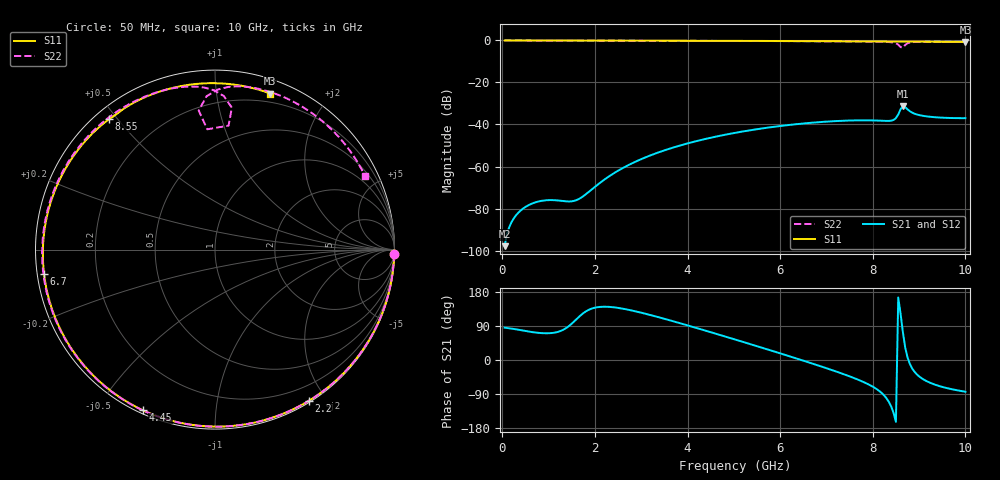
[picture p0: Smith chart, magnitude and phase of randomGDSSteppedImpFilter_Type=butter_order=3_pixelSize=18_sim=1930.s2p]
! freq	dB(S11)	phase(S11)	dB(S12)	phase(S12)
!  dB(S21)	phase(S21)	dB(S22)	phase(S22)
!S-par simulation data
#  GHz  S  DB  R 50
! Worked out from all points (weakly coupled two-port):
!   200 points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, 50 MHz to 10 GHz, reference 50 ohm
!   highest |S21| = -31.29 dB at 8.65 GHz (marker M1); lowest = -97.9 dB at 50 MHz (marker M2)
!   lowest |S11| = -0.7 dB at 10 GHz (marker M3), VSWR 24.82, Z = 6.03 + j70.4 ohm
!   |S11| at or under -10 dB: nowhere
!   |S22| runs from -3.5 to 0.0 dB; largest |S21 - S12| = 0
!   S11 on the Smith chart (normalised r, x): 50 MHz: 5, -88; 2.2 GHz: 0.02, -1.80; 4.45 GHz: 0.01, -0.65; 6.7 GHz: 0.02, -0.07; 8.55 GHz: 0.04, +0.48; 10 GHz: 0.12, +1.41
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0.05  -0.01 -1.3  -97.91 85.3  -97.91 85.3  -0.01 -1.4
0.45  -0.02 -12.1  -80.00 77.5  -80.00 77.5  -0.02 -13.3
0.85  -0.03 -22.8  -76.33 70.9  -76.33 70.9  -0.03 -25.1
1.5  -0.05 -40.0  -76.56 95.9  -76.56 95.9  -0.06 -44.0
1.75  -0.06 -46.5  -74.10 123.6  -74.10 123.6  -0.06 -51.2
2.2  -0.07 -58.1  -66.29 140.6  -66.29 140.6  -0.08 -64.0
2.75  -0.09 -72.1  -59.04 131.9  -59.04 131.9  -0.10 -79.4
3.4  -0.12 -88.3  -53.07 112.1  -53.07 112.1  -0.13 -97.3
4.45  -0.17 -114.1  -46.56 75.2  -46.56 75.2  -0.18 -126.3
5.05  -0.20 -128.9  -43.88 53.2  -43.88 53.2  -0.22 -143.2
5.9  -0.26 -150.4  -41.00 21.4  -41.00 21.4  -0.29 -168.5
6.7  -0.33 -171.9  -39.13 -9.6  -39.13 -9.6  -0.37 165.4
7.55  -0.43 163.0  -38.08 -45.5  -38.08 -45.5  -0.48 133.6
8.35  -0.53 136.4  -38.30 -111.1  -38.30 -111.1  -0.77 96.8
8.45  -0.55 132.8  -37.83 -140.1  -37.83 -140.1  -1.04 90.4
8.55  -0.58 129.1  -35.23 164.9  -35.23 164.9  -1.98 83.2
8.65  -0.60 125.7  -31.29 73.7  -31.29 73.7  -3.46 93.7
8.7  -0.59 123.9  -31.73 33.2  -31.73 33.2  -2.16 96.7
8.8  -0.58 120.0  -33.68 -10.3  -33.68 -10.3  -0.99 89.0
9  -0.60 112.2  -35.52 -43.2  -35.52 -43.2  -0.65 75.9
9.5  -0.65 91.9  -36.76 -71.0  -36.76 -71.0  -0.60 50.0
10  -0.70 70.5  -36.99 -83.8  -36.99 -83.8  -0.62 26.0
